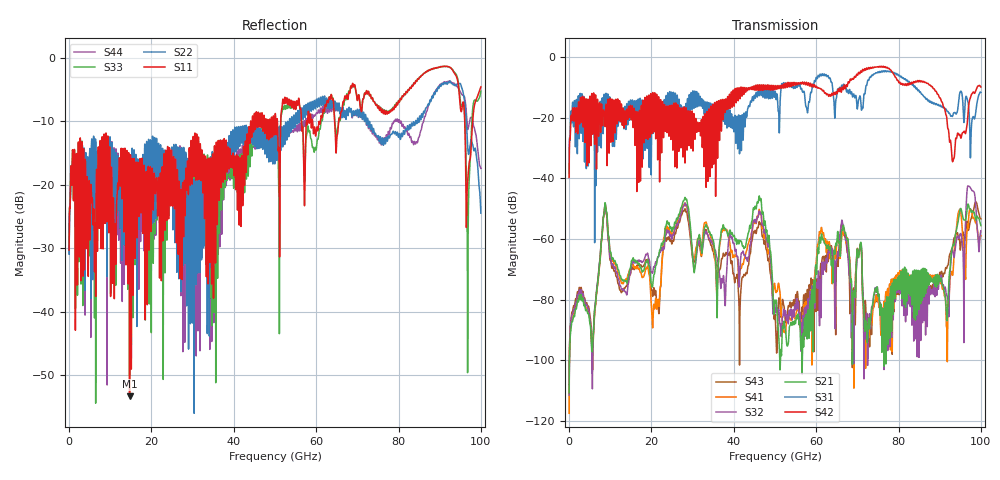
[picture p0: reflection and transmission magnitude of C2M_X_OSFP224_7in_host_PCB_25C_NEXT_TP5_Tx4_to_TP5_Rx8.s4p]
# GHz S RI R 45
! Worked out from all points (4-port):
!   4000 points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, 25 MHz to 100 GHz, reference 45 ohm
!   strongest paths, dB at 25 MHz, 25.02 GHz, 50.02 GHz, 75.03 GHz, 100 GHz:
!     S42: -39.7, -16.2, -10.6, -3.3, -9.9
!     S31: -38.3, -14.7, -11.4, -4.9, -11.6
!     S21: -110.7, -57.3, -80.4, -78.4, -55.6
!     S32: -111.5, -59.7, -82.4, -78.6, -57.3
!     S41: -117.5, -59.0, -75.6, -78.9, -58.9
!     S43: -107.9, -61.5, -84.9, -78.8, -53.4
!   lowest |S11| = -53.3 dB at 14.7 GHz (marker M1), VSWR 1.00, Z = 45.2 + j0.0644 ohm
!   |S11| at or under -10 dB: start of sweep to 44.11 GHz; 59.15 GHz to 61.04 GHz (1.886 GHz wide, 3.14 % of centre); 96.08 GHz to 98 GHz (1.927 GHz wide, 1.99 % of centre) (the widest 3 of 23)
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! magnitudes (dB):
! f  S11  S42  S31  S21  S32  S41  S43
! 25 MHz  -30.3  -39.7  -38.3  -110.7  -111.5  -117.5  -107.9
! 8.75 GHz  -25.2  -22.4  -22.9  -48.1  -48.3  -48.3  -48.6
! 14.7 GHz  -53.3  -19.9  -20.9  -70.3  -72.2  -70.1  -71.9
! 46.17 GHz  -10.9  -10.4  -12.8  -45.8  -50.7  -50.2  -54.3
! 50.08 GHz  -8.8  -10.1  -11.4  -80.9  -83.3  -76.3  -85.6
! 86.5 GHz  -2.3  -8.4  -13.4  -73.5  -78.6  -72.1  -82.0
! 100 GHz  -4.6  -9.9  -11.6  -55.6  -57.3  -58.9  -53.4
